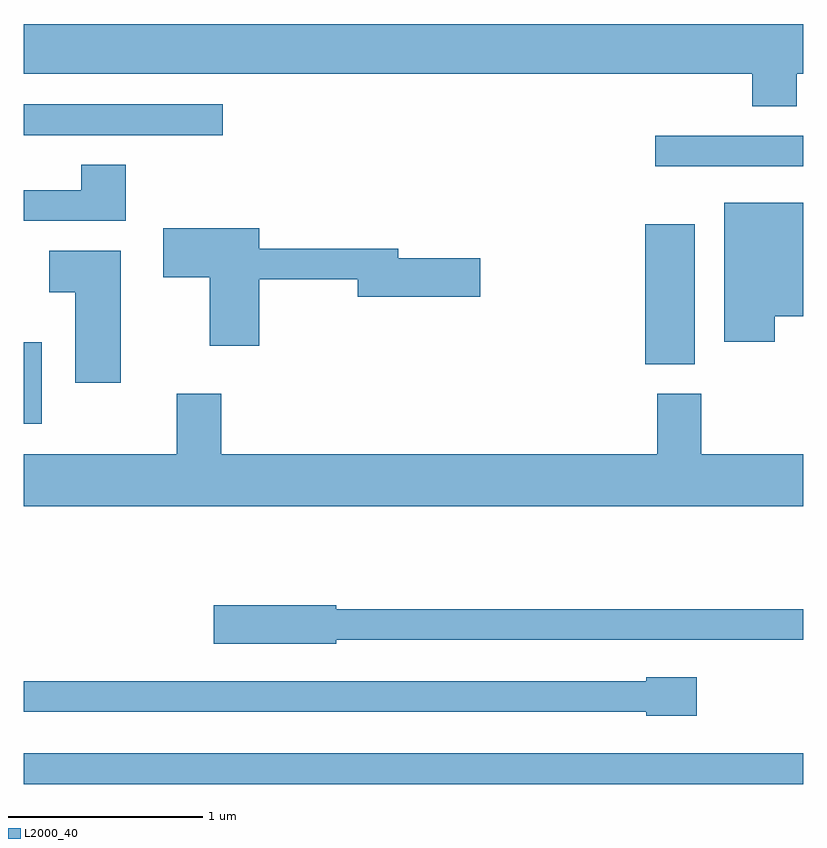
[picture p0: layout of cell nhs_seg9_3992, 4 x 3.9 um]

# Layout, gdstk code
import gdstk
lib = gdstk.Library(unit=1e-6, precision=1e-09)
def R(c, l, rs):  # rectangles x0, y0, x1, y1
    for r in rs: c.add(gdstk.rectangle(r[:2], r[2:], *l))
def P(c, l, *ps):  # polygons
    for p in ps: c.add(gdstk.Polygon(p, *l))
L2000_40 = (2000, 40)

nhs_seg9_3992 = lib.new_cell('nhs_seg9_3992')
R(nhs_seg9_3992, L2000_40, [(301.611,2072.531,305.611,2072.689), (301.611,2074.381,301.704,2074.799), (304.801,2074.686,305.054,2075.404), (304.853,2075.701,305.611,2075.859), (301.611,2075.861,302.633,2076.019)])
P(nhs_seg9_3992, L2000_40, [(305.579,2076.176),(305.611,2076.176),(305.611,2076.432),(301.611,2076.432),(301.611,2076.176),(305.351,2076.176),(305.351,2076.011),(305.579,2076.011)],
  [(302.134,2075.709),(301.906,2075.709),(301.906,2075.579),(301.611,2075.579),(301.611,2075.421),(302.134,2075.421)],
  [(305.464,2074.931),(305.611,2074.931),(305.611,2075.514),(305.206,2075.514),(305.206,2074.801),(305.464,2074.801)],
  [(302.819,2075.121),(303.326,2075.121),(303.326,2075.031),(303.954,2075.031),(303.954,2075.229),(303.534,2075.229),(303.534,2075.279),(302.819,2075.279),(302.819,2075.384),(302.326,2075.384),(302.326,2075.131),(302.566,2075.131),(302.566,2074.781),(302.819,2074.781)],
  [(302.109,2075.269),(301.741,2075.269),(301.741,2075.056),(301.876,2075.056),(301.876,2074.591),(302.109,2074.591)],
  [(305.611,2074.224),(305.089,2074.224),(305.089,2074.534),(304.861,2074.534),(304.861,2074.224),(302.624,2074.224),(302.624,2074.534),(302.396,2074.534),(302.396,2074.224),(301.611,2074.224),(301.611,2073.956),(305.611,2073.956)],
  [(303.214,2073.271),(305.611,2073.271),(305.611,2073.429),(303.214,2073.429),(303.214,2073.449),(302.586,2073.449),(302.586,2073.251),(303.214,2073.251)],
  [(305.064,2073.079),(304.806,2073.079),(304.806,2073.059),(301.611,2073.059),(301.611,2072.901),(304.806,2072.901),(304.806,2072.881),(305.064,2072.881)])

lib.write_gds('nhs_seg9_3992.gds')
